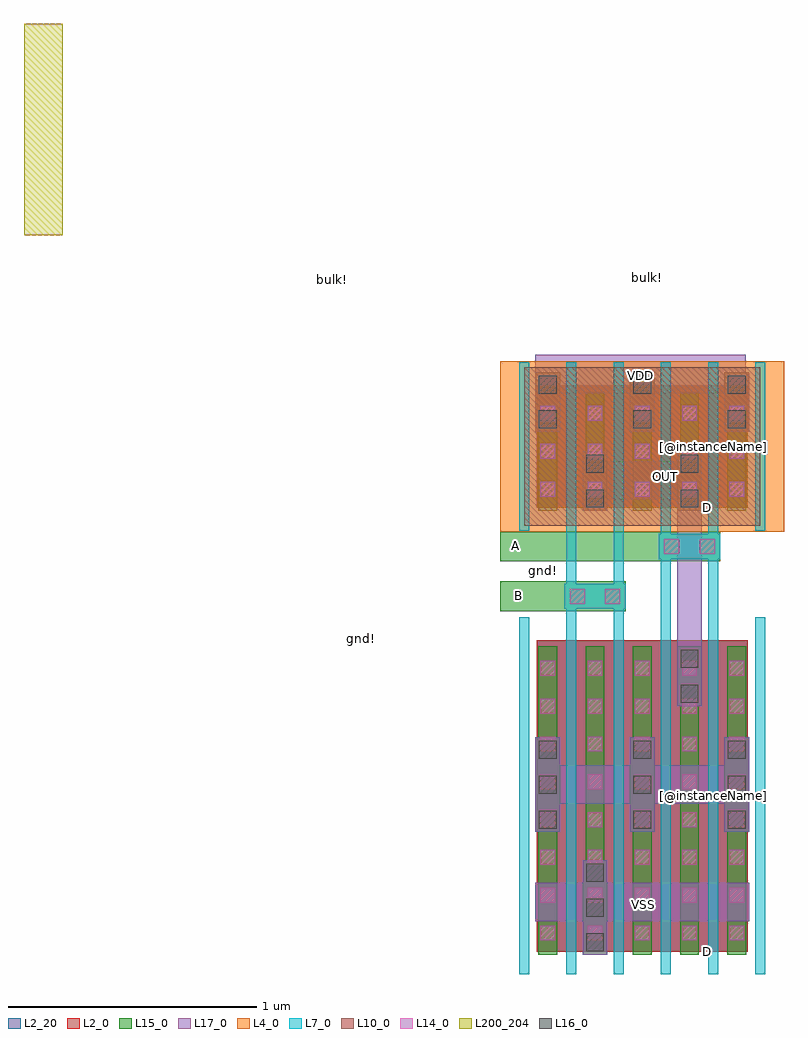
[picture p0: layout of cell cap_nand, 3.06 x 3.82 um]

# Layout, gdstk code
import gdstk
lib = gdstk.Library(unit=1e-6, precision=1e-09)
def R(c, l, rs):  # rectangles x0, y0, x1, y1
    for r in rs: c.add(gdstk.rectangle(r[:2], r[2:], *l))
def A(c, l, x, y, w, h, nx, ny, dx, dy):  # array of equal rectangles
    R(c, l, [(x+i*dx, y+j*dy, x+i*dx+w, y+j*dy+h) for i in range(nx) for j in range(ny)])
L2_0 = (2, 0)
L2_20 = (2, 20)
L4_0 = (4, 0)
L7_0 = (7, 0)
L10_0 = (10, 0)
L14_0 = (14, 0)
L15_0 = (15, 0)
L16_0 = (16, 0)
L17_0 = (17, 0)
L200_204 = (200, 204)

cap_nand = lib.new_cell('cap_nand')
A(cap_nand, L2_0, 3.5, -2.536, 0.04, 1.254, 4, 1, 0.19, 0)
A(cap_nand, L2_0, 3.54, -2.536, 0.15, 1.254, 3, 1, 0.19, 0)
A(cap_nand, L2_0, 3.5, -0.751, 0.04, 0.494, 4, 1, 0.19, 0)
A(cap_nand, L2_0, 3.54, -0.751, 0.15, 0.494, 3, 1, 0.19, 0)
R(cap_nand, L2_0, [(3.381,-2.536,3.5,-1.282), (4.11,-2.536,4.229,-1.282), (3.381,-0.751,3.5,-0.257), (4.11,-0.751,4.229,-0.257)])
R(cap_nand, L2_20, [(3.381,-2.536,4.229,-1.282), (3.381,-0.751,4.229,-0.257)])
R(cap_nand, L4_0, [(3.235,-0.846,4.375,-0.162)])
A(cap_nand, L7_0, 3.5, -2.627, 0.04, 0.091, 4, 2, 0.19, 1.345)
A(cap_nand, L7_0, 3.5, -2.536, 0.04, 1.254, 4, 1, 0.19, 0)
A(cap_nand, L7_0, 3.5, -1.191, 0.04, 0.349, 4, 1, 0.19, 0)
A(cap_nand, L7_0, 3.5, -0.842, 0.04, 0.091, 4, 2, 0.19, 0.585)
A(cap_nand, L7_0, 3.5, -0.751, 0.04, 0.494, 4, 1, 0.19, 0)
R(cap_nand, L7_0, [(3.31,-2.627,3.35,-1.191), (4.26,-2.627,4.3,-1.191), (3.492,-1.157,3.738,-1.055), (3.492,-1.157,3.738,-1.055), (3.872,-0.957,4.118,-0.855), (3.872,-0.957,4.118,-0.855), (3.31,-0.842,3.35,-0.166), (4.26,-0.842,4.3,-0.166)])
R(cap_nand, L10_0, [(3.33,-0.823,4.28,-0.185)])
A(cap_nand, L14_0, 3.395, -2.49, 0.06, 0.06, 5, 8, 0.19, 0.152)
A(cap_nand, L14_0, 3.395, -0.705, 0.06, 0.06, 5, 3, 0.19, 0.152)
R(cap_nand, L14_0, [(3.513,-1.136,3.573,-1.076), (3.657,-1.136,3.717,-1.076), (3.893,-0.936,3.953,-0.876), (4.037,-0.936,4.097,-0.876)])
A(cap_nand, L15_0, 3.375, -2.054, 0.1, 0.38, 3, 1, 0.38, 0)
A(cap_nand, L15_0, 3.375, -0.445, 0.1, 0.24, 3, 1, 0.38, 0)
R(cap_nand, L15_0, [(3.565,-2.548,3.665,-2.168), (3.945,-1.548,4.045,-1.308), (3.498,-1.151,3.732,-1.061), (3.878,-0.951,4.112,-0.861), (3.565,-0.763,3.665,-0.523), (3.945,-0.763,4.045,-0.523)])
A(cap_nand, L16_0, 3.579, -2.534, 0.072, 0.072, 1, 3, 0, 0.14)
A(cap_nand, L16_0, 3.389, -2.04, 0.072, 0.072, 3, 3, 0.38, 0.14)
A(cap_nand, L16_0, 3.389, -0.431, 0.072, 0.072, 3, 2, 0.38, 0.14)
R(cap_nand, L16_0, [(3.959,-1.534,4.031,-1.462), (3.959,-1.394,4.031,-1.322), (3.579,-0.749,3.651,-0.677), (3.959,-0.749,4.031,-0.677), (3.579,-0.609,3.651,-0.537), (3.959,-0.609,4.031,-0.537)])
A(cap_nand, L17_0, 3.375, -2.054, 0.1, 0.38, 3, 1, 0.38, 0)
A(cap_nand, L17_0, 3.375, -0.445, 0.1, 0.24, 3, 1, 0.38, 0)
R(cap_nand, L17_0, [(3.565,-2.548,3.665,-2.168), (3.375,-2.412,4.235,-2.258), (3.375,-1.94,4.235,-1.786), (3.945,-1.548,4.045,-1.308), (3.945,-1.31,4.045,-0.763), (3.565,-0.763,3.665,-0.523), (3.945,-0.763,4.045,-0.523), (3.585,-0.715,4.025,-0.563), (3.375,-0.289,4.221,-0.135)])
R(cap_nand, L200_204, [(1.319,0.345,1.475,1.197)])
cap_nand.add(gdstk.FlexPath([(3.425,-2.548),(3.425,-1.308)], 0.076, ends="flush", simple_path=True, layer=15, datatype=0))  # L15_0
cap_nand.add(gdstk.FlexPath([(3.615,-2.548),(3.615,-1.308)], 0.076, ends="flush", simple_path=True, layer=15, datatype=0))  # L15_0
cap_nand.add(gdstk.FlexPath([(3.805,-2.548),(3.805,-1.308)], 0.076, ends="flush", simple_path=True, layer=15, datatype=0))  # L15_0
cap_nand.add(gdstk.FlexPath([(3.995,-2.548),(3.995,-1.308)], 0.076, ends="flush", simple_path=True, layer=15, datatype=0))  # L15_0
cap_nand.add(gdstk.FlexPath([(4.185,-2.548),(4.185,-1.308)], 0.076, ends="flush", simple_path=True, layer=15, datatype=0))  # L15_0
cap_nand.add(gdstk.FlexPath([(3.425,-0.763),(3.425,-0.283)], 0.076, ends="flush", simple_path=True, layer=15, datatype=0))  # L15_0
cap_nand.add(gdstk.FlexPath([(3.615,-0.763),(3.615,-0.283)], 0.076, ends="flush", simple_path=True, layer=15, datatype=0))  # L15_0
cap_nand.add(gdstk.FlexPath([(3.805,-0.763),(3.805,-0.283)], 0.076, ends="flush", simple_path=True, layer=15, datatype=0))  # L15_0
cap_nand.add(gdstk.FlexPath([(3.995,-0.763),(3.995,-0.283)], 0.076, ends="flush", simple_path=True, layer=15, datatype=0))  # L15_0
cap_nand.add(gdstk.FlexPath([(4.185,-0.763),(4.185,-0.283)], 0.076, ends="flush", simple_path=True, layer=15, datatype=0))  # L15_0
cap_nand.add(gdstk.FlexPath([(4.118,-0.906),(3.235,-0.906)], 0.12, ends="flush", simple_path=True, layer=15, datatype=0))  # L15_0
cap_nand.add(gdstk.FlexPath([(3.738,-1.106),(3.235,-1.106)], 0.12, ends="flush", simple_path=True, layer=15, datatype=0))  # L15_0
cap_nand.add(gdstk.Label('gnd!', (3.406,-1.004), layer=61, texttype=31))
cap_nand.add(gdstk.Label('bulk!', (5.717,0.187), layer=61, texttype=31))
cap_nand.add(gdstk.Label('bulk!', (3.826,0.177), layer=61, texttype=31))
cap_nand.add(gdstk.Label('bulk!', (8.931,0.177), layer=61, texttype=31))
cap_nand.add(gdstk.Label('bulk!', (2.561,0.168), layer=61, texttype=31))
cap_nand.add(gdstk.Label('gnd!', (2.678,-1.276), layer=61, texttype=31))
cap_nand.add(gdstk.Label('VSS', (3.812,-2.344), layer=17, texttype=20))
cap_nand.add(gdstk.Label('VDD', (3.798,-0.22), layer=17, texttype=20))
cap_nand.add(gdstk.Label('OUT', (3.898,-0.624), layer=17, texttype=20))
cap_nand.add(gdstk.Label('B', (3.308,-1.104), layer=15, texttype=20))
cap_nand.add(gdstk.Label('A', (3.295,-0.903), layer=15, texttype=20))
cap_nand.add(gdstk.Label('D', (4.069,-2.535), layer=62, texttype=20))
cap_nand.add(gdstk.Label('S', (4.111,-2.535), layer=62, texttype=20))
cap_nand.add(gdstk.Label('[@instanceName]', (4.09,-1.909), layer=62, texttype=20))
cap_nand.add(gdstk.Label('D', (4.069,-0.75), layer=62, texttype=20))
cap_nand.add(gdstk.Label('S', (4.111,-0.75), layer=62, texttype=20))
cap_nand.add(gdstk.Label('[@instanceName]', (4.09,-0.504), layer=62, texttype=20))

lib.write_gds('cap_nand.gds')
